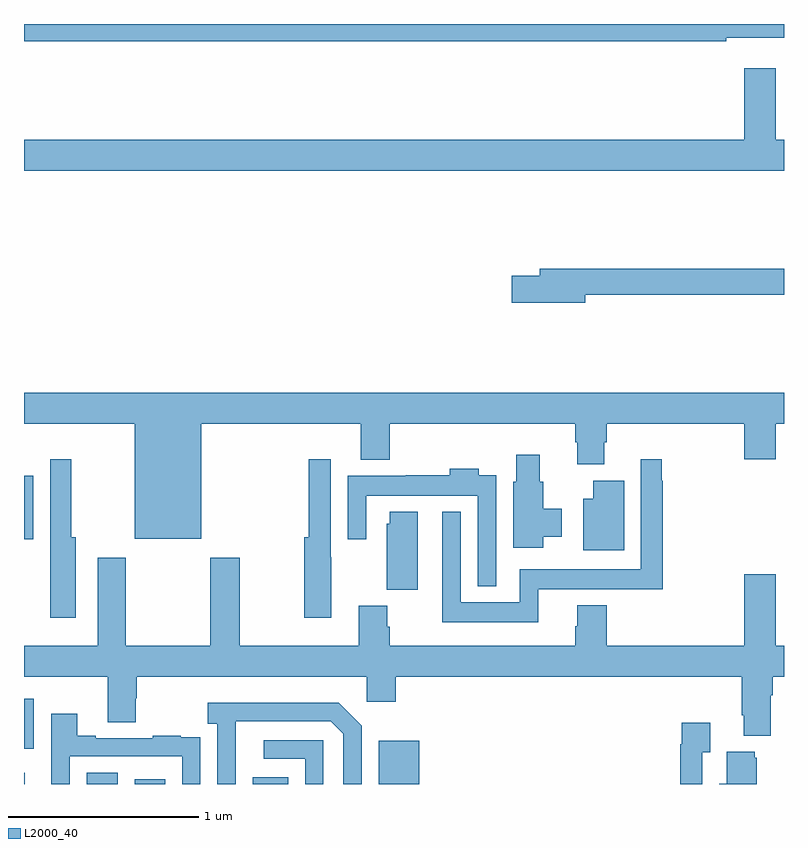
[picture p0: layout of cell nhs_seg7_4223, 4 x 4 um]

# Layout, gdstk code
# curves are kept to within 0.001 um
import gdstk
lib = gdstk.Library(unit=1e-6, precision=1e-09)
def R(c, l, rs):  # rectangles x0, y0, x1, y1
    for r in rs: c.add(gdstk.rectangle(r[:2], r[2:], *l))
def P(c, l, *ps):  # polygons
    for p in ps: c.add(gdstk.Polygon(p, *l))
L2000_40 = (2000, 40)

nhs_seg7_4223 = lib.new_cell('nhs_seg7_4223')
R(nhs_seg7_4223, L2000_40, [(377,1052,377.005,1052.059), (377.33,1052,377.494,1052.06), (377.582,1052,377.743,1052.026), (378.203,1052,378.391,1052.035), (378.866,1052,379.079,1052.227), (377,1052.186,377.05,1052.449), (377,1053.288,377.049,1053.622)])
P(nhs_seg7_4223, L2000_40, [(380.696,1055.927),(381,1055.927),(381,1056),(377,1056),(377,1055.908),(380.696,1055.908)],
  [(381,1055.392),(380.956,1055.392),(380.956,1055.767),(380.792,1055.767),(380.792,1055.392),(377,1055.392),(377,1055.228),(381,1055.228)],
  [(379.954,1054.576),(381,1054.576),(381,1054.712),(379.715,1054.712),(379.715,1054.676),(379.566,1054.676),(379.566,1054.534),(379.954,1054.534)],
  [(377.932,1053.896),(378.773,1053.896),(378.773,1053.707),(378.926,1053.707),(378.926,1053.896),(379.901,1053.896),(379.901,1053.798),(379.913,1053.798),(379.913,1053.684),(380.053,1053.684),(380.053,1053.798),(380.066,1053.798),(380.066,1053.896),(380.792,1053.896),(380.792,1053.708),(380.956,1053.708),(380.956,1053.896),(381,1053.896),(381,1054.06),(377,1054.06),(377,1053.896),(377.582,1053.896),(377.582,1053.29),(377.932,1053.29)],
  [(379.732,1053.302),(379.831,1053.302),(379.831,1053.45),(379.732,1053.45),(379.732,1053.591),(379.714,1053.591),(379.714,1053.733),(379.592,1053.733),(379.592,1053.591),(379.574,1053.591),(379.574,1053.243),(379.732,1053.243)],
  [(379.706,1053.026),(380.24,1053.026),(380.24,1053.024),(380.363,1053.024),(380.363,1053.596),(380.356,1053.596),(380.356,1053.709),(380.247,1053.709),(380.247,1053.13),(379.608,1053.13),(379.608,1052.956),(379.299,1052.956),(379.299,1053.433),(379.202,1053.433),(379.202,1052.852),(379.706,1052.852)],
  [(378.616,1053.194),(378.615,1053.194),(378.615,1053.709),(378.499,1053.709),(378.499,1053.298),(378.475,1053.298),(378.475,1052.874),(378.616,1052.874)],
  [(377.272,1053.298),(377.248,1053.298),(377.248,1053.709),(377.139,1053.709),(377.139,1053.194),(377.138,1053.194),(377.138,1052.874),(377.272,1052.874)],
  [(379.485,1053.625),(379.393,1053.625),(379.393,1053.658),(379.241,1053.658),(379.241,1053.625),(379.009,1053.625),(379.009,1053.622),(378.705,1053.622),(378.705,1053.288),(378.801,1053.288),(378.801,1053.518),(379.389,1053.518),(379.389,1053.041),(379.485,1053.041)],
  [(380.158,1053.595),(379.997,1053.595),(379.997,1053.502),(379.943,1053.502),(379.943,1053.23),(380.158,1053.23)],
  [(379.072,1053.433),(378.926,1053.433),(378.926,1053.369),(378.908,1053.369),(378.908,1053.022),(379.072,1053.022)],
  [(380.929,1052.468),(380.942,1052.468),(380.942,1052.564),(381,1052.564),(381,1052.728),(380.956,1052.728),(380.956,1053.103),(380.792,1053.103),(380.792,1052.728),(380.066,1052.728),(380.066,1052.941),(379.913,1052.941),(379.913,1052.829),(379.901,1052.829),(379.901,1052.728),(378.926,1052.728),(378.926,1052.828),(378.913,1052.828),(378.913,1052.937),(378.761,1052.937),(378.761,1052.728),(378.135,1052.728),(378.135,1053.19),(377.98,1053.19),(377.98,1052.728),(377.535,1052.728),(377.535,1053.19),(377.387,1053.19),(377.387,1052.728),(377,1052.728),(377,1052.564),(377.441,1052.564),(377.441,1052.326),(377.589,1052.326),(377.589,1052.451),(377.594,1052.451),(377.594,1052.564),(378.804,1052.564),(378.804,1052.433),(378.956,1052.433),(378.956,1052.564),(380.777,1052.564),(380.777,1052.362),(380.789,1052.362),(380.789,1052.255),(380.929,1052.255)],
  [(378.114,1052.131),(378.115,1052.331),(378.615,1052.331),(378.681,1052.265),(378.681,1052),(378.777,1052),(378.777,1052.307),(378.656,1052.428),(377.967,1052.428),(377.967,1052.318),(378.018,1052.318),(378.018,1052),(378.114,1052)],
  [(377.241,1052.145),(377.832,1052.145),(377.832,1052),(377.928,1052),(377.928,1052.138),(377.927,1052.138),(377.927,1052.247),(377.825,1052.247),(377.825,1052.254),(377.677,1052.254),(377.677,1052.241),(377.377,1052.241),(377.377,1052.254),(377.281,1052.254),(377.281,1052.371),(377.144,1052.371),(377.144,1052),(377.241,1052)],
  [(380.571,1052.167),(380.611,1052.167),(380.611,1052.323),(380.463,1052.323),(380.463,1052.21),(380.455,1052.21),(380.455,1052),(380.571,1052)],
  [(378.576,1052.229),(378.261,1052.229),(378.261,1052.133),(378.48,1052.133),(378.48,1052),(378.576,1052)],
  [(380.857,1052.139),(380.846,1052.139),(380.846,1052.17),(380.699,1052.17),(380.699,1052.002),(380.66,1052.002),(380.66,1052),(380.857,1052)])

lib.write_gds('nhs_seg7_4223.gds')
